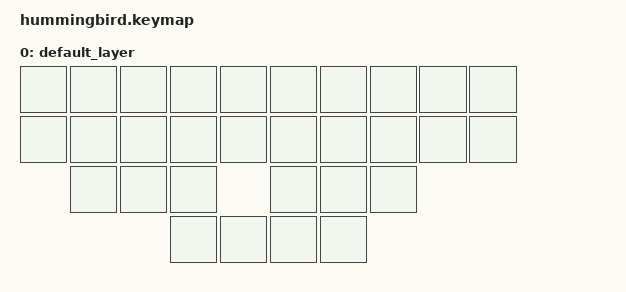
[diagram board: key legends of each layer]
/*
 * Taipo Layout for Hummingbird Keyboard (30 keys)
 * Finnish Edition with ä, ö, å support
 * 
 * Key positions:
 * LEFT HAND:              RIGHT HAND:
 *  0   1   2   3   4       5   6   7   8   9
 * 10  11  12  13  14      15  16  17  18  19
 *     20  21  22              23  24  25
 *             26  27      28  29
 */

#include <behaviors.dtsi>
#include <dt-bindings/zmk/bt.h>
#include <dt-bindings/zmk/keys.h>
#include <dt-bindings/zmk/outputs.h>

// CONFIG
#define COMBO_TIMEOUT 70
#define COMBO_LAYERS 0
#define STICKY_TIMEOUT 500

// LEFT HAND (Taipo uses 2 keys per finger)
#define TLP 0   // Top Left Pinky
#define TLR 1   // Top Left Ring
#define TLM 2   // Top Left Middle
#define TLI 3   // Top Left Index
#define BLP 10  // Bottom Left Pinky
#define BLR 11  // Bottom Left Ring
#define BLM 12  // Bottom Left Middle
#define BLI 13  // Bottom Left Index
#define LOT 27  // Left Outer Thumb (space)
#define LIT 26  // Left Inner Thumb (backspace)

// RIGHT HAND (Taipo uses 2 keys per finger)
#define TRP 9   // Top Right Pinky
#define TRR 8   // Top Right Ring
#define TRM 7   // Top Right Middle
#define TRI 6   // Top Right Index
#define BRP 19  // Bottom Right Pinky
#define BRR 18  // Bottom Right Ring
#define BRM 17  // Bottom Right Middle
#define BRI 16  // Bottom Right Index
#define ROT 28  // Right Inner Thumb (space)
#define RIT 29  // Right Outer Thumb (backspace)

&sk {
    release-after-ms = <STICKY_TIMEOUT>;
    quick-release;
};

/ {
  combos {
    compatible = "zmk,combos";
    #include "taipo-finnish.dtsi"
  };

  keymap {
    compatible = "zmk,keymap";

    default_layer {
      bindings = <
        &none &none &none &none &none    &none &none &none &none &none
        &none &none &none &none &none    &none &none &none &none &none
              &none &none &none          &none &none &none
                          &none &none    &none &none
      >;
    };
  };
};
